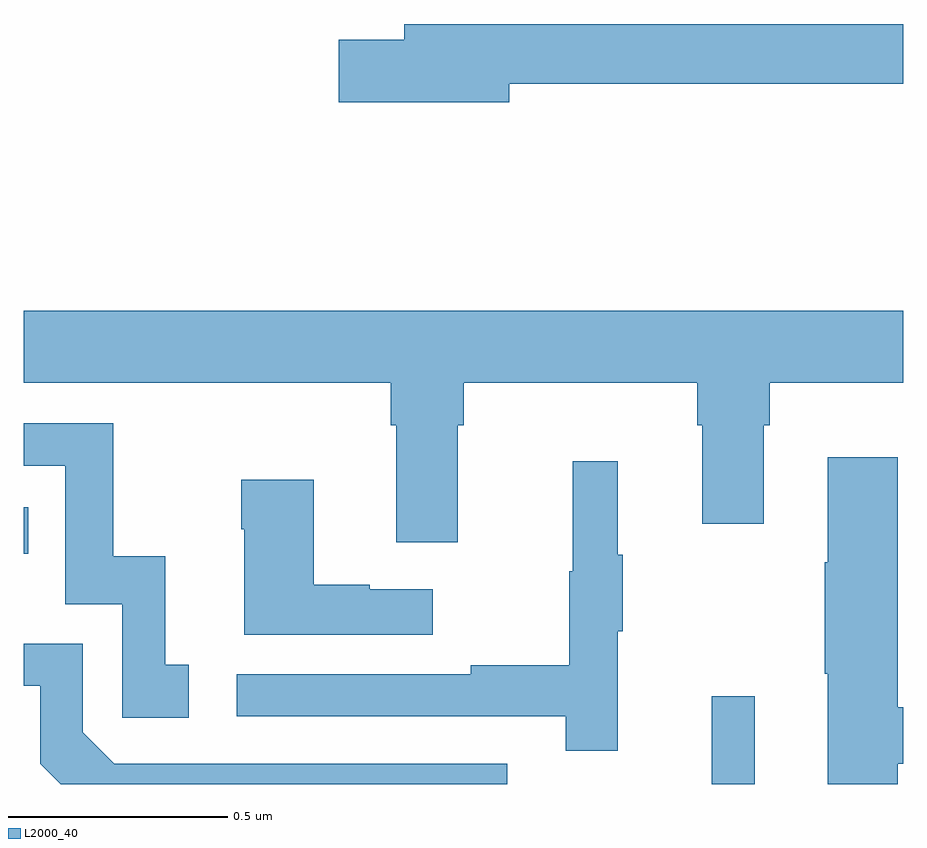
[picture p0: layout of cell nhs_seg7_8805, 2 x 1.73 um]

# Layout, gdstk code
import gdstk
lib = gdstk.Library(unit=1e-6, precision=1e-09)
def R(c, l, rs):  # rectangles x0, y0, x1, y1
    for r in rs: c.add(gdstk.rectangle(r[:2], r[2:], *l))
def P(c, l, *ps):  # polygons
    for p in ps: c.add(gdstk.Polygon(p, *l))
L2000_40 = (2000, 40)

nhs_seg7_8805 = lib.new_cell('nhs_seg7_8805')
R(nhs_seg7_8805, L2000_40, [(230.565,1037,230.662,1037.2), (229,1037.523,229.01,1037.629)])
P(nhs_seg7_8805, L2000_40, [(230.104,1038.592),(231,1038.592),(231,1038.728),(229.865,1038.728),(229.865,1038.692),(229.716,1038.692),(229.716,1038.55),(230.104,1038.55)],
  [(229.987,1037.816),(230,1037.816),(230,1037.912),(230.531,1037.912),(230.531,1037.816),(230.543,1037.816),(230.543,1037.592),(230.683,1037.592),(230.683,1037.816),(230.696,1037.816),(230.696,1037.912),(231,1037.912),(231,1038.076),(229,1038.076),(229,1037.912),(229.835,1037.912),(229.835,1037.816),(229.847,1037.816),(229.847,1037.55),(229.987,1037.55)],
  [(229.375,1037.271),(229.322,1037.271),(229.322,1037.518),(229.204,1037.518),(229.204,1037.82),(229,1037.82),(229,1037.724),(229.095,1037.724),(229.095,1037.409),(229.224,1037.409),(229.224,1037.151),(229.375,1037.151)],
  [(230.987,1037.046),(231,1037.046),(231,1037.174),(230.987,1037.174),(230.987,1037.743),(230.828,1037.743),(230.828,1037.504),(230.821,1037.504),(230.821,1037.251),(230.828,1037.251),(230.828,1037),(230.987,1037)],
  [(230.351,1037.347),(230.362,1037.347),(230.362,1037.521),(230.351,1037.521),(230.351,1037.734),(230.248,1037.734),(230.248,1037.484),(230.241,1037.484),(230.241,1037.27),(230.017,1037.27),(230.017,1037.25),(229.485,1037.25),(229.485,1037.154),(230.233,1037.154),(230.233,1037.076),(230.351,1037.076)],
  [(229.93,1037.443),(229.787,1037.443),(229.787,1037.453),(229.66,1037.453),(229.66,1037.692),(229.495,1037.692),(229.495,1037.579),(229.502,1037.579),(229.502,1037.339),(229.93,1037.339)],
  [(230.1,1037.046),(229.206,1037.046),(229.134,1037.118),(229.134,1037.319),(229,1037.319),(229,1037.223),(229.038,1037.223),(229.038,1037.046),(229.084,1037),(230.1,1037)])

lib.write_gds('nhs_seg7_8805.gds')
